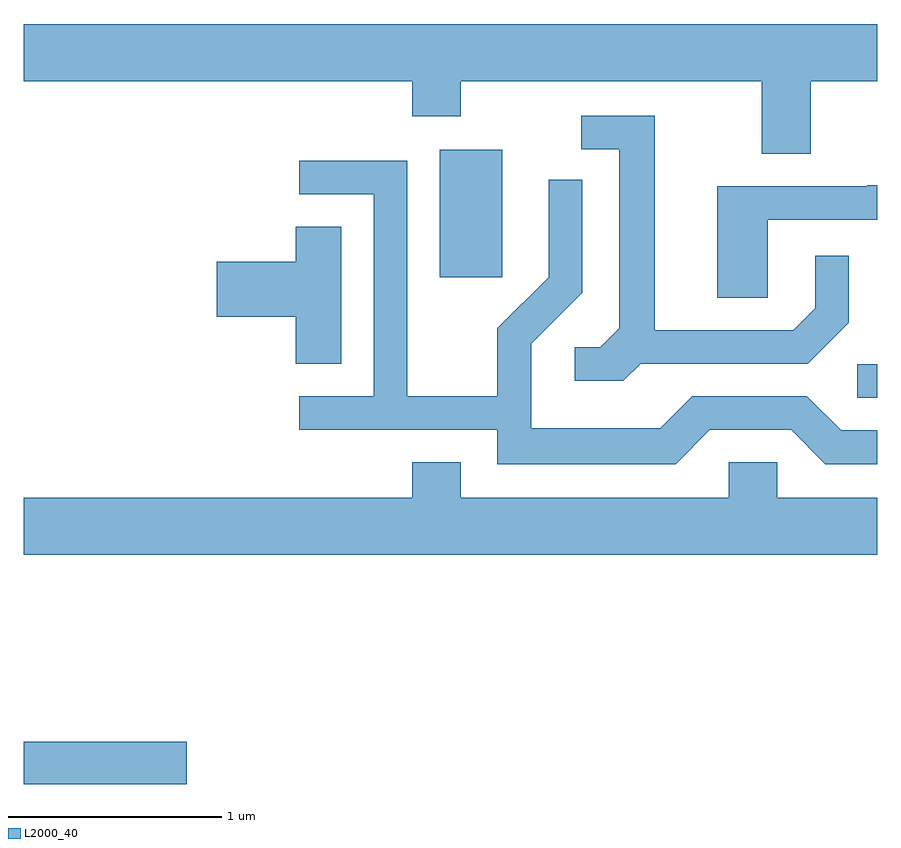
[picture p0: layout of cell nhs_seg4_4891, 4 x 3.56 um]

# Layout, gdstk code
import gdstk
lib = gdstk.Library(unit=1e-6, precision=1e-09)
def R(c, l, rs):  # rectangles x0, y0, x1, y1
    for r in rs: c.add(gdstk.rectangle(r[:2], r[2:], *l))
def P(c, l, *ps):  # polygons
    for p in ps: c.add(gdstk.Polygon(p, *l))
L2000_40 = (2000, 40)

nhs_seg4_4891 = lib.new_cell('nhs_seg4_4891')
R(nhs_seg4_4891, L2000_40, [(327.611,1380.241,328.374,1380.439), (331.518,1382.051,331.611,1382.209), (329.561,1382.616,329.854,1383.214)])
P(nhs_seg4_4891, L2000_40, [(331.299,1383.536),(331.611,1383.536),(331.611,1383.804),(327.611,1383.804),(327.611,1383.536),(329.431,1383.536),(329.431,1383.371),(329.659,1383.371),(329.659,1383.536),(331.071,1383.536),(331.071,1383.196),(331.299,1383.196)],
  [(330.502,1382.211),(331.287,1382.211),(331.479,1382.404),(331.479,1382.718),(331.321,1382.718),(331.321,1382.472),(331.219,1382.369),(330.569,1382.369),(330.569,1383.374),(330.223,1383.374),(330.223,1383.216),(330.401,1383.216),(330.401,1382.377),(330.314,1382.289),(330.193,1382.289),(330.193,1382.131),(330.422,1382.131)],
  [(330.827,1381.901),(331.209,1381.901),(331.369,1381.741),(331.611,1381.741),(331.611,1381.899),(331.442,1381.899),(331.282,1382.059),(330.744,1382.059),(330.594,1381.909),(329.989,1381.909),(329.989,1382.304),(330.229,1382.544),(330.229,1383.073),(330.071,1383.073),(330.071,1382.617),(329.831,1382.377),(329.831,1382.059),(329.409,1382.059),(329.409,1383.164),(328.903,1383.164),(328.903,1383.006),(329.251,1383.006),(329.251,1382.059),(328.903,1382.059),(328.903,1381.901),(329.831,1381.901),(329.831,1381.741),(330.667,1381.741)],
  [(331.099,1382.886),(331.611,1382.886),(331.611,1383.049),(331.565,1383.049),(331.565,1383.044),(330.861,1383.044),(330.861,1382.521),(331.099,1382.521)],
  [(329.099,1382.854),(328.886,1382.854),(328.886,1382.689),(328.516,1382.689),(328.516,1382.431),(328.886,1382.431),(328.886,1382.211),(329.099,1382.211)],
  [(331.611,1381.584),(331.144,1381.584),(331.144,1381.749),(330.916,1381.749),(330.916,1381.584),(329.659,1381.584),(329.659,1381.749),(329.431,1381.749),(329.431,1381.584),(327.611,1381.584),(327.611,1381.316),(331.611,1381.316)])

lib.write_gds('nhs_seg4_4891.gds')
